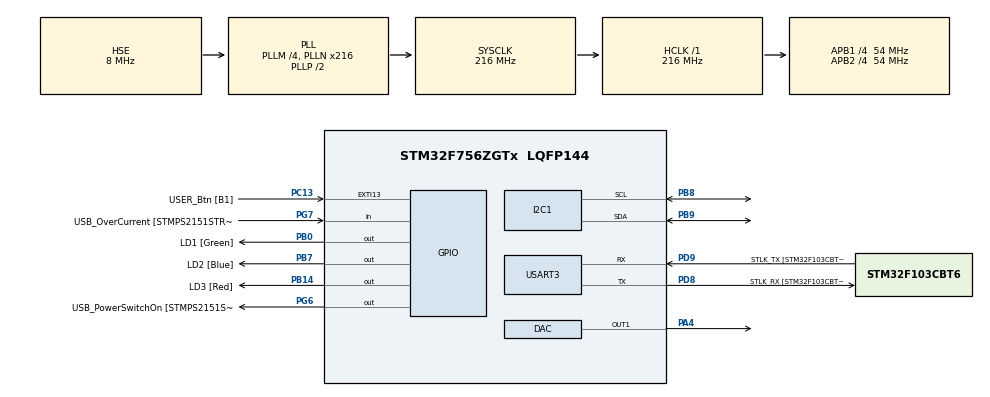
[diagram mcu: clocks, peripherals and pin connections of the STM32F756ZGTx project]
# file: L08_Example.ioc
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DAC.DAC_Trigger=DAC_TRIGGER_T7_TRGO
Dma.DAC1.0.Direction=DMA_MEMORY_TO_PERIPH
Dma.DAC1.0.FIFOMode=DMA_FIFOMODE_DISABLE
Dma.DAC1.0.Instance=DMA1_Stream5
Dma.DAC1.0.MemDataAlignment=DMA_MDATAALIGN_BYTE
Dma.DAC1.0.MemInc=DMA_MINC_ENABLE
Dma.DAC1.0.Mode=DMA_NORMAL
Dma.DAC1.0.PeriphDataAlignment=DMA_PDATAALIGN_BYTE
Dma.DAC1.0.PeriphInc=DMA_PINC_DISABLE
Dma.DAC1.0.Priority=DMA_PRIORITY_LOW
Dma.Request0=DAC1
I2C1.Timing=0x20404768
Mcu.Family=STM32F7
Mcu.Name=STM32F756ZGTx
Mcu.Package=LQFP144
NVIC.DMA1_Stream5_IRQn=true\:0\:0\:false\:false\:true\:false\:true\:true
NVIC.PriorityGroup=NVIC_PRIORITYGROUP_4
NVIC.USART3_IRQn=true\:0\:0\:false\:false\:true\:true\:true\:true
PA1.GPIO_Label=RMII_REF_CLK [LAN8742A-CZ-TR_REFCLK0]
PA1.Signal=ETH_REF_CLK
PA10.GPIO_Label=USB_ID
PA10.Signal=USB_OTG_FS_ID
PA11.GPIO_Label=USB_DM
PA11.Signal=USB_OTG_FS_DM
PA12.GPIO_Label=USB_DP
PA12.Signal=USB_OTG_FS_DP
PA13.GPIO_Label=TMS
PA13.Mode=Serial_Wire
PA13.Signal=SYS_JTMS-SWDIO
PA14.GPIO_Label=TCK
PA14.Mode=Serial_Wire
PA14.Signal=SYS_JTCK-SWCLK
PA2.GPIO_Label=RMII_MDIO [LAN8742A-CZ-TR_MDIO]
PA2.Signal=ETH_MDIO
PA4.Signal=COMP_DAC1_group
PA7.GPIO_Label=RMII_CRS_DV [LAN8742A-CZ-TR_CRS_DV]
PA7.Signal=ETH_CRS_DV
PA8.GPIO_Label=USB_SOF [TP1]
PA8.Signal=USB_OTG_FS_SOF
PA9.GPIO_Label=USB_VBUS
PA9.Signal=USB_OTG_FS_VBUS
PB0.GPIO_Label=LD1 [Green]
PB0.Signal=GPIO_Output
PB13.GPIO_Label=RMII_TXD1 [LAN8742A-CZ-TR_TXD1]
PB13.Signal=ETH_TXD1
PB14.GPIO_Label=LD3 [Red]
PB14.Signal=GPIO_Output
PB3.GPIO_Label=SW0
PB3.Signal=SYS_JTDO-SWO
PB7.GPIO_Label=LD2 [Blue]
PB7.Signal=GPIO_Output
PB8.Mode=I2C
PB8.Signal=I2C1_SCL
PB9.Mode=I2C
PB9.Signal=I2C1_SDA
PC1.GPIO_Label=RMII_MDC [LAN8742A-CZ-TR_MDC]
PC1.Signal=ETH_MDC
PC13.GPIO_Label=USER_Btn [B1]
PC13.Signal=GPXTI13
PC14/OSC32_IN.Mode=LSE-External-Oscillator
PC14/OSC32_IN.Signal=RCC_OSC32_IN
PC15/OSC32_OUT.Mode=LSE-External-Oscillator
PC15/OSC32_OUT.Signal=RCC_OSC32_OUT
PC4.GPIO_Label=RMII_RXD0 [LAN8742A-CZ-TR_RXD0]
PC4.Signal=ETH_RXD0
PC5.GPIO_Label=RMII_RXD1 [LAN8742A-CZ-TR_RXD1]
PC5.Signal=ETH_RXD1
PD8.GPIO_Label=STLK_RX [STM32F103CBT6_PA3]
PD8.Mode=Asynchronous
PD8.Signal=USART3_TX
PD9.GPIO_Label=STLK_TX [STM32F103CBT6_PA2]
PD9.Mode=Asynchronous
PD9.Signal=USART3_RX
PG11.GPIO_Label=RMII_TX_EN [LAN8742A-CZ-TR_TXEN]
PG11.Signal=ETH_TX_EN
PG13.GPIO_Label=RMII_TXD0 [LAN8742A-CZ-TR_TXD0]
PG13.Signal=ETH_TXD0
PG6.GPIO_Label=USB_PowerSwitchOn [STMPS2151STR_EN]
PG6.Signal=GPIO_Output
PG7.GPIO_Label=USB_OverCurrent [STMPS2151STR_FAULT]
PG7.Signal=GPIO_Input
PH0/OSC_IN.GPIO_Label=MCO [STM32F103CBT6_PA8]
PH0/OSC_IN.Mode=HSE-External-Clock-Source
PH0/OSC_IN.Signal=RCC_OSC_IN
PH1/OSC_OUT.Mode=HSE-External-Clock-Source
PH1/OSC_OUT.Signal=RCC_OSC_OUT
ProjectManager.HeapSize=0x200
ProjectManager.StackSize=0x400
ProjectManager.TargetToolchain=STM32CubeIDE
RCC.48MHZClocksFreq_Value=24000000
RCC.AHBFreq_Value=216000000
RCC.APB1CLKDivider=RCC_HCLK_DIV4
RCC.APB1Freq_Value=54000000
RCC.APB1TimFreq_Value=108000000
RCC.APB2CLKDivider=RCC_HCLK_DIV4
RCC.APB2Freq_Value=54000000
RCC.APB2TimFreq_Value=108000000
RCC.CortexFreq_Value=216000000
RCC.HCLKFreq_Value=216000000
RCC.HSE_VALUE=8000000
RCC.HSI_VALUE=16000000
RCC.PLLM=4
RCC.PLLMUL=RCC_PLL_MUL9
RCC.PLLN=216
RCC.PLLQ=3
RCC.PLLSourceVirtual=RCC_PLLSOURCE_HSE
RCC.PRESCALERUSB=RCC_USBCLKSOURCE_PLL_DIV1_5
RCC.SYSCLKFreq_VALUE=216000000
RCC.SYSCLKSource=RCC_SYSCLKSOURCE_PLLCLK
RCC.SYSCLKSourceVirtual=RCC_SYSCLKSOURCE_PLLCLK
RCC.USBFreq_Value=144000000
RCC.VCOOutputFreq_Value=432000000
SH.COMP_DAC1_group.0=DAC_OUT1,DAC_OUT1
TIM7.Period=125 - 1
TIM7.Prescaler=108 - 1
TIM7.TIM_MasterOutputTrigger=TIM_TRGO_UPDATE
USART3.VirtualMode-Asynchronous=VM_ASYNC
VP_TIM7_VS_ClockSourceINT.Mode=Enable_Timer
board=NUCLEO-F756ZG

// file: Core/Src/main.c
/* USER CODE BEGIN Header */
/**
  ******************************************************************************
  * @file           : main.c
  * @brief          : Main program body
  ******************************************************************************
  * @attention
  *
  * Copyright (c) 2025 STMicroelectronics.
  * All rights reserved.
  *
  * This software is licensed under terms that can be found in the LICENSE file
  * in the root directory of this software component.
  * If no LICENSE file comes with this software, it is provided AS-IS.
  *
  ******************************************************************************
  */
/* USER CODE END Header */
#include "main.h"
#include "dac.h"
#include "dma.h"
#include "i2c.h"
#include "tim.h"
#include "usart.h"
#include "gpio.h"

/* USER CODE BEGIN PD */
#define DAC_DMA_DATA_SIZE    (sizeof(rawData))
#define DAC_DMA_BLOCK_SIZE   0xffff

/* USER CODE END PD */

/* USER CODE BEGIN PM */
#define DAC_DMA_LEN(indx)    ((DAC_DMA_DATA_SIZE-(indx)>DAC_DMA_BLOCK_SIZE)?\
                             DAC_DMA_BLOCK_SIZE:(DAC_DMA_DATA_SIZE-(indx)))
/* USER CODE END PM */

/* USER CODE BEGIN PV */
extern unsigned char rawData[163148];
_Bool DAC_DMA_ConvCplt = 0;
uint32_t DAC_DMA_Index = 0;
/* USER CODE END PV */

void SystemClock_Config(void);

/* USER CODE BEGIN 0 */
/**
  * @brief  Conversion complete callback in non-blocking mode for Channel1
  * @param  hdac pointer to a DAC_HandleTypeDef structure that contains
  *         the configuration information for the specified DAC.
  * @retval None
  *
  */
void HAL_DAC_ConvCpltCallbackCh1(DAC_HandleTypeDef *hdac)
{
  DAC_DMA_ConvCplt = 1;
}

/* USER CODE END 0 */

int main(void)
{

  /* MCU Configuration--------------------------------------------------------*/

  /* Reset of all peripherals, Initializes the Flash interface and the Systick. */
  HAL_Init();

  /* Configure the system clock */
  SystemClock_Config();

  /* Initialize all configured peripherals */
  MX_GPIO_Init();
  MX_DMA_Init();
  MX_I2C1_Init();
  MX_USART3_UART_Init();
  MX_DAC_Init();
  MX_TIM7_Init();
  /* USER CODE BEGIN 2 */
  HAL_DAC_Start_DMA(&hdac, DAC_CHANNEL_1, (uint32_t*)&rawData[DAC_DMA_Index], DAC_DMA_LEN(DAC_DMA_Index), DAC_ALIGN_8B_R);
  HAL_TIM_Base_Start(&htim7);
  /* USER CODE END 2 */

  /* Infinite loop */
  /* USER CODE BEGIN WHILE */
  while (1)
  {
    if(DAC_DMA_ConvCplt)
    {
      DAC_DMA_ConvCplt = 0;
      DAC_DMA_Index += DAC_DMA_BLOCK_SIZE;
      if(DAC_DMA_Index < DAC_DMA_DATA_SIZE)
        HAL_DAC_Start_DMA(&hdac, DAC_CHANNEL_1, (uint32_t*)&rawData[DAC_DMA_Index], DAC_DMA_LEN(DAC_DMA_Index), DAC_ALIGN_8B_R);
      else
        HAL_DAC_Stop_DMA(&hdac, DAC_CHANNEL_1);
    }
    /* USER CODE END WHILE */

  }
}

void SystemClock_Config(void)
{
  RCC_OscInitTypeDef RCC_OscInitStruct = {0};
  RCC_ClkInitTypeDef RCC_ClkInitStruct = {0};

  /** Configure LSE Drive Capability
  */
  HAL_PWR_EnableBkUpAccess();

  /** Configure the main internal regulator output voltage
  */
  __HAL_RCC_PWR_CLK_ENABLE();
  __HAL_PWR_VOLTAGESCALING_CONFIG(PWR_REGULATOR_VOLTAGE_SCALE1);

  /** Initializes the RCC Oscillators according to the specified parameters
  * in the RCC_OscInitTypeDef structure.
  */
  RCC_OscInitStruct.OscillatorType = RCC_OSCILLATORTYPE_HSE;
  RCC_OscInitStruct.HSEState = RCC_HSE_BYPASS;
  RCC_OscInitStruct.PLL.PLLState = RCC_PLL_ON;
  RCC_OscInitStruct.PLL.PLLSource = RCC_PLLSOURCE_HSE;
  RCC_OscInitStruct.PLL.PLLM = 4;
  RCC_OscInitStruct.PLL.PLLN = 216;
  RCC_OscInitStruct.PLL.PLLP = RCC_PLLP_DIV2;
  RCC_OscInitStruct.PLL.PLLQ = 3;
  if (HAL_RCC_OscConfig(&RCC_OscInitStruct) != HAL_OK)
  {
    Error_Handler();
  }

  /** Activate the Over-Drive mode
  */
  if (HAL_PWREx_EnableOverDrive() != HAL_OK)
  {
    Error_Handler();
  }

  /** Initializes the CPU, AHB and APB buses clocks
  */
  RCC_ClkInitStruct.ClockType = RCC_CLOCKTYPE_HCLK|RCC_CLOCKTYPE_SYSCLK
                              |RCC_CLOCKTYPE_PCLK1|RCC_CLOCKTYPE_PCLK2;
  RCC_ClkInitStruct.SYSCLKSource = RCC_SYSCLKSOURCE_PLLCLK;
  RCC_ClkInitStruct.AHBCLKDivider = RCC_SYSCLK_DIV1;
  RCC_ClkInitStruct.APB1CLKDivider = RCC_HCLK_DIV4;
  RCC_ClkInitStruct.APB2CLKDivider = RCC_HCLK_DIV4;

  if (HAL_RCC_ClockConfig(&RCC_ClkInitStruct, FLASH_LATENCY_7) != HAL_OK)
  {
    Error_Handler();
  }
}

void Error_Handler(void)
{
  __disable_irq();
  while (1)
  {
  }
}
